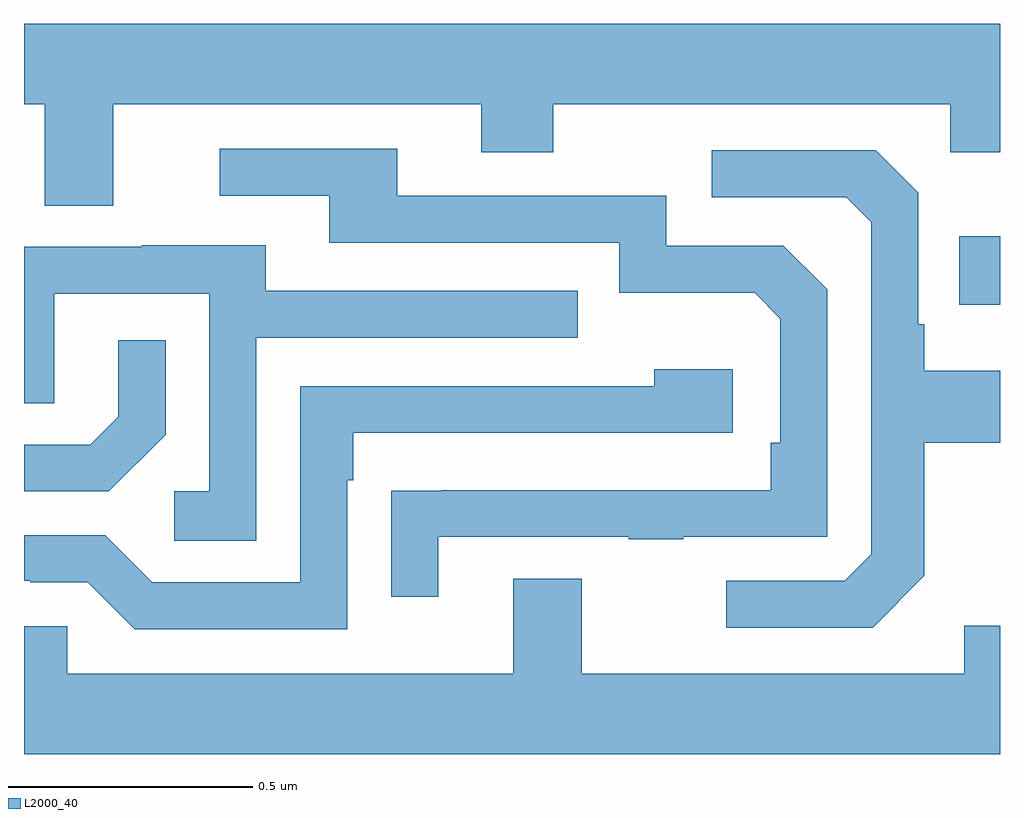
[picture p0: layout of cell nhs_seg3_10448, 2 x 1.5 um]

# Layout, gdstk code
import gdstk
lib = gdstk.Library(unit=1e-6, precision=1e-09)
def R(c, l, rs):  # rectangles x0, y0, x1, y1
    for r in rs: c.add(gdstk.rectangle(r[:2], r[2:], *l))
def P(c, l, *ps):  # polygons
    for p in ps: c.add(gdstk.Polygon(p, *l))
L2000_40 = (2000, 40)

nhs_seg3_10448 = lib.new_cell('nhs_seg3_10448')
R(nhs_seg3_10448, L2000_40, [(242.917,688.517,243,688.657)])
P(nhs_seg3_10448, L2000_40, [(241,688.928),(241.043,688.928),(241.043,688.72),(241.183,688.72),(241.183,688.928),(241.937,688.928),(241.937,688.829),(242.085,688.829),(242.085,688.928),(242.898,688.928),(242.898,688.829),(243,688.829),(243,689.092),(241,689.092)],
  [(241.849,688.041),(242.239,688.041),(242.239,688.036),(242.351,688.036),(242.351,688.041),(242.646,688.041),(242.646,688.548),(242.556,688.638),(242.316,688.638),(242.316,688.74),(241.765,688.74),(241.765,688.836),(241.401,688.836),(241.401,688.74),(241.625,688.74),(241.625,688.644),(242.22,688.644),(242.22,688.541),(242.497,688.541),(242.55,688.488),(242.55,688.234),(242.53,688.234),(242.53,688.137),(241.855,688.137),(241.855,688.136),(241.753,688.136),(241.753,687.918),(241.849,687.918)],
  [(242.845,687.961),(242.845,688.234),(243,688.234),(243,688.381),(242.845,688.381),(242.845,688.477),(242.832,688.477),(242.832,688.746),(242.745,688.833),(242.409,688.833),(242.409,688.737),(242.685,688.737),(242.736,688.686),(242.736,688.005),(242.682,687.951),(242.439,687.951),(242.439,687.855),(242.739,687.855)],
  [(241.476,688.449),(242.135,688.449),(242.135,688.545),(241.495,688.545),(241.495,688.639),(241.241,688.639),(241.241,688.635),(241,688.635),(241,688.315),(241.062,688.315),(241.062,688.539),(241.38,688.539),(241.38,688.134),(241.308,688.134),(241.308,688.033),(241.476,688.033)],
  [(241.29,688.25),(241.29,688.444),(241.193,688.444),(241.193,688.287),(241.136,688.23),(241,688.23),(241,688.134),(241.174,688.134)],
  [(241.662,688.157),(241.675,688.157),(241.675,688.254),(242.452,688.254),(242.452,688.384),(242.291,688.384),(242.291,688.35),(241.566,688.35),(241.566,687.948),(241.263,687.948),(241.167,688.044),(241,688.044),(241,687.951),(241.013,687.951),(241.013,687.948),(241.131,687.948),(241.227,687.852),(241.662,687.852)],
  [(243,687.859),(242.927,687.859),(242.927,687.76),(242.143,687.76),(242.143,687.955),(242.003,687.955),(242.003,687.76),(241.089,687.76),(241.089,687.858),(241,687.858),(241,687.596),(243,687.596)])

lib.write_gds('nhs_seg3_10448.gds')
